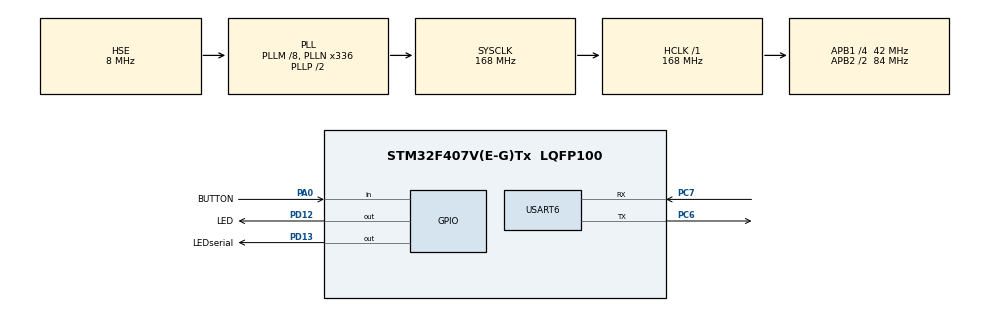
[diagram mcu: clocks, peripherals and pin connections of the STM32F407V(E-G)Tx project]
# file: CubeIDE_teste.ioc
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Mcu.Family=STM32F4
Mcu.Name=STM32F407V(E-G)Tx
Mcu.Package=LQFP100
NVIC.PriorityGroup=NVIC_PRIORITYGROUP_0
NVIC.USART6_IRQn=true\:0\:0\:false\:false\:true\:true\:true\:true
PA0-WKUP.GPIO_Label=BUTTON
PA0-WKUP.GPIO_Mode=GPIO_MODE_INPUT
PA0-WKUP.GPIO_PuPd=GPIO_PULLDOWN
PA0-WKUP.Signal=GPIO_Input
PC6.Mode=Asynchronous
PC6.Signal=USART6_TX
PC7.Mode=Asynchronous
PC7.Signal=USART6_RX
PD12.GPIO_Label=LED
PD12.Signal=GPIO_Output
PD13.GPIO_Label=LEDserial
PD13.Signal=GPIO_Output
PH0-OSC_IN.Mode=HSE-External-Clock-Source
PH0-OSC_IN.Signal=RCC_OSC_IN
PH1-OSC_OUT.Mode=HSE-External-Clock-Source
PH1-OSC_OUT.Signal=RCC_OSC_OUT
ProjectManager.HeapSize=0x200
ProjectManager.StackSize=0x400
ProjectManager.TargetToolchain=STM32CubeIDE
RCC.48MHZClocksFreq_Value=48000000
RCC.AHBFreq_Value=168000000
RCC.APB1CLKDivider=RCC_HCLK_DIV4
RCC.APB1Freq_Value=42000000
RCC.APB1TimFreq_Value=84000000
RCC.APB2CLKDivider=RCC_HCLK_DIV2
RCC.APB2Freq_Value=84000000
RCC.APB2TimFreq_Value=168000000
RCC.CortexFreq_Value=168000000
RCC.HCLKFreq_Value=168000000
RCC.HSE_VALUE=8000000
RCC.HSI_VALUE=16000000
RCC.LSE_VALUE=32768
RCC.PLLM=8
RCC.PLLN=336
RCC.PLLQ=7
RCC.PLLSourceVirtual=RCC_PLLSOURCE_HSE
RCC.SYSCLKFreq_VALUE=168000000
RCC.SYSCLKSource=RCC_SYSCLKSOURCE_PLLCLK
RCC.VCOOutputFreq_Value=336000000
USART6.VirtualMode=VM_ASYNC
board=STM32F407G-DISC1

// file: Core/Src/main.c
/* USER CODE BEGIN Header */
/**
  ******************************************************************************
  * @file           : main.c
  * @brief          : Main program body
  ******************************************************************************
  * @attention
  *
  * Copyright (c) 2024 STMicroelectronics.
  * All rights reserved.
  *
  * This software is licensed under terms that can be found in the LICENSE file
  * in the root directory of this software component.
  * If no LICENSE file comes with this software, it is provided AS-IS.
  *
  ******************************************************************************
  */
/* USER CODE END Header */
#include "main.h"

UART_HandleTypeDef huart6;

/* USER CODE BEGIN PV */

GPIO_PinState button_state;
GPIO_PinState led_state;

/* USER CODE END PV */

void SystemClock_Config(void);
static void MX_GPIO_Init(void);
static void MX_USART6_UART_Init(void);

/* USER CODE BEGIN 0 */

uint8_t msg1[25] = "\n\r orange LED ON\n\r";
uint8_t msg2[25] = "\n\r orange LED OFF\n\r";
uint8_t tx_data[27] = "Serial ON\n\r";
uint8_t rx_data[6];

/* USER CODE END 0 */

int main(void)
{

  /* MCU Configuration--------------------------------------------------------*/

  /* Reset of all peripherals, Initializes the Flash interface and the Systick. */
  HAL_Init();

  /* Configure the system clock */
  SystemClock_Config();

  /* Initialize all configured peripherals */
  MX_GPIO_Init();
  MX_USART6_UART_Init();
  /* USER CODE BEGIN 2 */

  HAL_UART_Transmit(&huart6, tx_data, strlen(tx_data), 10); // teste serial
  HAL_UART_Receive_IT(&huart6, rx_data, 1); //Essa função aciona o rx, permitindo callbacks, define o canal que será recebida pela placa a imagem, a mensagem que será recebida e quantos bits terá a mensagem
											  //(A QUANTIDADE DE BITS ESPECIFICADA SERA A QUANTIDADE DE BITS NECESS�?RIA PARA O CALLBACK SER CHAMADO)

  /* USER CODE END 2 */

  /* Infinite loop */
  /* USER CODE BEGIN WHILE */

  while (1)
  { // LED VERDE CONTROLADO PELO BOTÃO
	  button_state = HAL_GPIO_ReadPin(GPIOA, BUTTON_Pin);
	  	  if (button_state == GPIO_PIN_SET){
	  		  led_state = HAL_GPIO_ReadPin(GPIOD, LED_Pin);
	  		  if (led_state == GPIO_PIN_RESET){
	  			  HAL_GPIO_WritePin(GPIOD, LED_Pin, GPIO_PIN_SET);
	  		  }
	  		  else {
	  			  HAL_GPIO_WritePin(GPIOD, LED_Pin, GPIO_PIN_RESET);
	  		  	  }
	  	  }
  }
    /* USER CODE END WHILE */

}

void SystemClock_Config(void)
{
  RCC_OscInitTypeDef RCC_OscInitStruct = {0};
  RCC_ClkInitTypeDef RCC_ClkInitStruct = {0};

  /** Configure the main internal regulator output voltage
  */
  __HAL_RCC_PWR_CLK_ENABLE();
  __HAL_PWR_VOLTAGESCALING_CONFIG(PWR_REGULATOR_VOLTAGE_SCALE1);

  /** Initializes the RCC Oscillators according to the specified parameters
  * in the RCC_OscInitTypeDef structure.
  */
  RCC_OscInitStruct.OscillatorType = RCC_OSCILLATORTYPE_HSE;
  RCC_OscInitStruct.HSEState = RCC_HSE_BYPASS;
  RCC_OscInitStruct.PLL.PLLState = RCC_PLL_ON;
  RCC_OscInitStruct.PLL.PLLSource = RCC_PLLSOURCE_HSE;
  RCC_OscInitStruct.PLL.PLLM = 8;
  RCC_OscInitStruct.PLL.PLLN = 336;
  RCC_OscInitStruct.PLL.PLLP = RCC_PLLP_DIV2;
  RCC_OscInitStruct.PLL.PLLQ = 7;
  if (HAL_RCC_OscConfig(&RCC_OscInitStruct) != HAL_OK)
  {
    Error_Handler();
  }

  /** Initializes the CPU, AHB and APB buses clocks
  */
  RCC_ClkInitStruct.ClockType = RCC_CLOCKTYPE_HCLK|RCC_CLOCKTYPE_SYSCLK
                              |RCC_CLOCKTYPE_PCLK1|RCC_CLOCKTYPE_PCLK2;
  RCC_ClkInitStruct.SYSCLKSource = RCC_SYSCLKSOURCE_PLLCLK;
  RCC_ClkInitStruct.AHBCLKDivider = RCC_SYSCLK_DIV1;
  RCC_ClkInitStruct.APB1CLKDivider = RCC_HCLK_DIV4;
  RCC_ClkInitStruct.APB2CLKDivider = RCC_HCLK_DIV2;

  if (HAL_RCC_ClockConfig(&RCC_ClkInitStruct, FLASH_LATENCY_5) != HAL_OK)
  {
    Error_Handler();
  }
}

static void MX_USART6_UART_Init(void)
{

  huart6.Instance = USART6;
  huart6.Init.BaudRate = 115200;
  huart6.Init.WordLength = UART_WORDLENGTH_8B;
  huart6.Init.StopBits = UART_STOPBITS_1;
  huart6.Init.Parity = UART_PARITY_NONE;
  huart6.Init.Mode = UART_MODE_TX_RX;
  huart6.Init.HwFlowCtl = UART_HWCONTROL_NONE;
  huart6.Init.OverSampling = UART_OVERSAMPLING_16;
  if (HAL_UART_Init(&huart6) != HAL_OK)
  {
    Error_Handler();
  }

}

static void MX_GPIO_Init(void)
{
  GPIO_InitTypeDef GPIO_InitStruct = {0};

  /* GPIO Ports Clock Enable */
  __HAL_RCC_GPIOH_CLK_ENABLE();
  __HAL_RCC_GPIOA_CLK_ENABLE();
  __HAL_RCC_GPIOD_CLK_ENABLE();
  __HAL_RCC_GPIOC_CLK_ENABLE();

  /*Configure GPIO pin Output Level */
  HAL_GPIO_WritePin(GPIOD, LED_Pin|LEDserial_Pin, GPIO_PIN_RESET);

  /*Configure GPIO pin : BUTTON_Pin */
  GPIO_InitStruct.Pin = BUTTON_Pin;
  GPIO_InitStruct.Mode = GPIO_MODE_INPUT;
  GPIO_InitStruct.Pull = GPIO_PULLDOWN;
  HAL_GPIO_Init(BUTTON_GPIO_Port, &GPIO_InitStruct);

  /*Configure GPIO pins : LED_Pin LEDserial_Pin */
  GPIO_InitStruct.Pin = LED_Pin|LEDserial_Pin;
  GPIO_InitStruct.Mode = GPIO_MODE_OUTPUT_PP;
  GPIO_InitStruct.Pull = GPIO_NOPULL;
  GPIO_InitStruct.Speed = GPIO_SPEED_FREQ_LOW;
  HAL_GPIO_Init(GPIOD, &GPIO_InitStruct);

}

/* USER CODE BEGIN 4 */

void HAL_UART_RxCpltCallback(UART_HandleTypeDef *huart){
	// algoritmo que quando o calbback é acionado, dependendo do valor recebido o led laranja acende ou apaga
	HAL_UART_Transmit(&huart6, rx_data, strlen(rx_data), 10);
	if (rx_data[0] == '1'){
		HAL_GPIO_WritePin(GPIOD, LEDserial_Pin, GPIO_PIN_SET);
		HAL_UART_Transmit(&huart6, msg1, strlen(msg1), 10);
	}
	if (rx_data[0] == '0'){
		HAL_GPIO_WritePin(GPIOD, LEDserial_Pin, GPIO_PIN_RESET);
		HAL_UART_Transmit(&huart6, msg2, strlen(msg2), 10);
	}
	  HAL_UART_Receive_IT(&huart6, rx_data, 1); //aciona o rx de novo, porque depois do callback ele "para de funcionar"
}

/* USER CODE END 4 */

void Error_Handler(void)
{
  __disable_irq();
  while (1)
  {
  }
}
